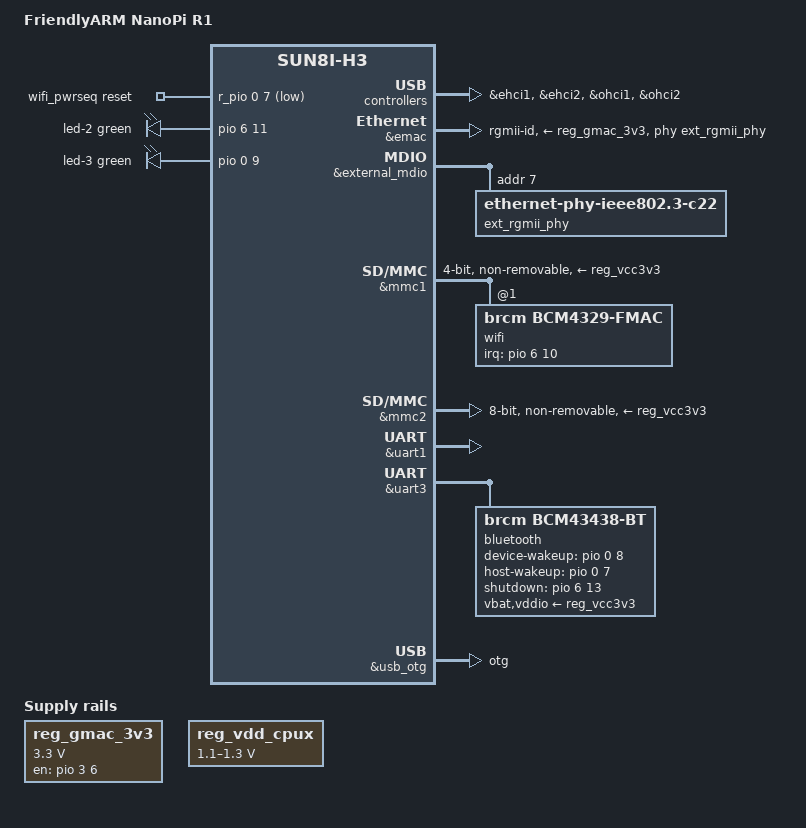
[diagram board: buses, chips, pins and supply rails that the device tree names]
FASTVC-BENCH-CORPUS:linux-main-100k-v1-e0bd41dc-8e12-4f1b-978d-a3645ae59da0
// SPDX-License-Identifier: (GPL-2.0+ OR MIT)
/*
 * Copyright (C) 2019 Igor Pecovnik <igor@armbian.com>
 * Copyright (C) 2020 Jayantajit Gogoi <jayanta.gogoi525@gmail.com>
/* bench 27324.1.0 a7ba78999e02 */
/* bench 27324.1.1 7f936d972c30 */
/* bench 27324.1.2 f8878a0144dc */
/* bench 27324.1.3 52bfb6ded738 */
/* bench 27324.1.4 f67a7d9738b1 */
/* bench 27324.1.5 46f22f5b624b */
/* bench 27324.1.6 f1e8e8a87078 */
/* bench 27324.1.7 be37f6e65737 */

#include "sun8i-h3-nanopi.dtsi"
#include <dt-bindings/leds/common.h>

/ {
	model = "FriendlyARM NanoPi R1";
	compatible = "friendlyarm,nanopi-r1", "allwinner,sun8i-h3";

	aliases {
		serial1 = &uart1;
		ethernet0 = &emac;
		ethernet1 = &wifi;
	};

	reg_gmac_3v3: gmac-3v3 {
		compatible = "regulator-fixed";
		regulator-name = "gmac-3v3";
		regulator-min-microvolt = <3300000>;
		regulator-max-microvolt = <3300000>;
		startup-delay-us = <100000>;
		enable-active-high;
		gpio = <&pio 3 6 GPIO_ACTIVE_HIGH>; /* PD6 */
	};

	reg_vdd_cpux: gpio-regulator {
		compatible = "regulator-gpio";
		regulator-name = "vdd-cpux";
		regulator-type = "voltage";
		regulator-boot-on;
		regulator-always-on;
		regulator-min-microvolt = <1100000>;
		regulator-max-microvolt = <1300000>;
		regulator-ramp-delay = <50>;
		gpios = <&r_pio 0 6 GPIO_ACTIVE_HIGH>; /* PL6 */
		gpios-states = <0x1>;
		states = <1100000 0x0>,
			 <1300000 0x1>;
	};

	wifi_pwrseq: wifi_pwrseq {
		compatible = "mmc-pwrseq-simple";
		reset-gpios = <&r_pio 0 7 GPIO_ACTIVE_LOW>; /* PL7 */
		clocks = <&rtc 1>;
		clock-names = "ext_clock";
/* bench 693.1.0 0212a9b804fd */
/* bench 693.1.1 2854314ef2c7 */
/* bench 693.1.2 7e6ae05ef3a6 */
/* bench 693.1.3 092493bc661e */
/* bench 693.1.4 4342cdb82271 */
/* bench 693.1.5 bfecc4acf419 */
	leds {
		led-2 {
			function = LED_FUNCTION_WAN;
			color = <LED_COLOR_ID_GREEN>;
			gpios = <&pio 6 11 GPIO_ACTIVE_HIGH>; /* PG11 */
		};

		led-3 {
			function = LED_FUNCTION_LAN;
			color = <LED_COLOR_ID_GREEN>;
			gpios = <&pio 0 9 GPIO_ACTIVE_HIGH>; /* PA9 */
		};
	};
};

&cpu0 {
	cpu-supply = <&reg_vdd_cpux>;
};

&ehci1 {
	status = "okay";
};

&ehci2 {
	status = "okay";
};

&emac {
	pinctrl-names = "default";
	pinctrl-0 = <&emac_rgmii_pins>;
	phy-supply = <&reg_gmac_3v3>;
	phy-handle = <&ext_rgmii_phy>;
	phy-mode = "rgmii-id";
	status = "okay";
};

&external_mdio {
	ext_rgmii_phy: ethernet-phy@7 {
		compatible = "ethernet-phy-ieee802.3-c22";
		reg = <7>;
	};
};

&mmc1 {
	vmmc-supply = <&reg_vcc3v3>;
	vqmmc-supply = <&reg_vcc3v3>;
	mmc-pwrseq = <&wifi_pwrseq>;
	bus-width = <4>;
	non-removable;
	status = "okay";

	wifi: wifi@1 {
		reg = <1>;
		compatible = "brcm,bcm4329-fmac";
		interrupt-parent = <&pio>;
		interrupts = <6 10 IRQ_TYPE_LEVEL_LOW>; /* PG10 / EINT10 */
		interrupt-names = "host-wake";
	};
};

&mmc2 {
	pinctrl-names = "default";
	pinctrl-0 = <&mmc2_8bit_pins>;
	vmmc-supply = <&reg_vcc3v3>;
	vqmmc-supply = <&reg_vcc3v3>;
	bus-width = <8>;
	non-removable;
	status = "okay";
};

&ohci1 {
	status = "okay";
};

&ohci2 {
	status = "okay";
};

&reg_usb0_vbus {
	gpio = <&r_pio 0 2 GPIO_ACTIVE_HIGH>; /* PL2 */
	status = "okay";
};

&uart1 {
	pinctrl-names = "default";
	pinctrl-0 = <&uart1_pins>;
	status = "okay";
};

&uart3 {
	pinctrl-names = "default";
	pinctrl-0 = <&uart3_pins>, <&uart3_rts_cts_pins>;
	uart-has-rtscts;
	status = "okay";

	bluetooth {
		compatible = "brcm,bcm43438-bt";
		clocks = <&rtc 1>;
		clock-names = "lpo";
		vbat-supply = <&reg_vcc3v3>;
		vddio-supply = <&reg_vcc3v3>;
		device-wakeup-gpios = <&pio 0 8 GPIO_ACTIVE_HIGH>; /* PA8 */
		host-wakeup-gpios = <&pio 0 7 GPIO_ACTIVE_HIGH>; /* PA7 */
		shutdown-gpios = <&pio 6 13 GPIO_ACTIVE_HIGH>; /* PG13 */
	};
};

&usb_otg {
	status = "okay";
/* bench 145.0.0 9c1d569d632f */
/* bench 145.0.1 52642334c7b7 */
/* bench 145.0.2 5715e9ee4148 */
/* bench 145.0.3 4eb11c250909 */
/* bench 145.0.4 bc61d74ebcc2 */
/* bench 145.0.5 17b717c8b68f */
/* bench 145.0.6 dd66ba7bc1e6 */
/* bench 145.0.7 870ac153db5a */
	dr_mode = "otg";
};

&usbphy {
	usb0_id_det-gpios = <&pio 6 12 GPIO_ACTIVE_HIGH>; /* PG12 */
	usb0_vbus-supply = <&reg_usb0_vbus>;
	status = "okay";
};
